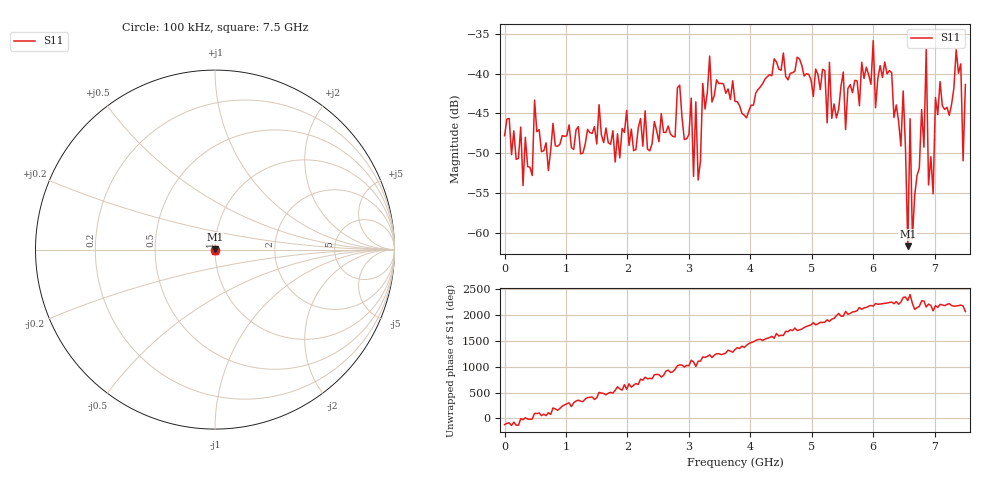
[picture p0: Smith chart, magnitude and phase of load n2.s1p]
# Hz S RI R 50.000000
! FREQ  re:S1  1  im:S1  1
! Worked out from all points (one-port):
!   201 points, 100 kHz to 7.5 GHz, reference 50 ohm
!   lowest |S11| = -61.7 dB at 6.562 GHz (marker M1), VSWR 1.00, Z = 50 + j0.0696 ohm
!   |S11| at or under -10 dB: start of sweep to end of sweep
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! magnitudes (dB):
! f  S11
! 100 kHz  -47.8
! 937.6 MHz  -47.8
! 1.875 GHz  -50.6
! 2.813 GHz  -41.8
! 3.038 GHz  -43.1
! 3.075 GHz  -52.9
! 3.113 GHz  -43.5
! 3.15 GHz  -53.4
! 3.338 GHz  -37.8
! 3.75 GHz  -43.5
! 4.687 GHz  -39.9
! 5.625 GHz  -41.4
! 6 GHz  -35.8
! 6.45 GHz  -49.1
! 6.487 GHz  -42.2
! 6.562 GHz  -61.7
! 6.6 GHz  -45.7
! 6.637 GHz  -60.8
! 6.787 GHz  -44.5
! 6.825 GHz  -49.2
! 6.862 GHz  -36.9
! 6.9 GHz  -54.0
! 6.975 GHz  -55.1
! 7.012 GHz  -43.0
! 7.087 GHz  -41.0
! 7.425 GHz  -38.8
! 7.462 GHz  -51.0
! 7.5 GHz  -41.4
